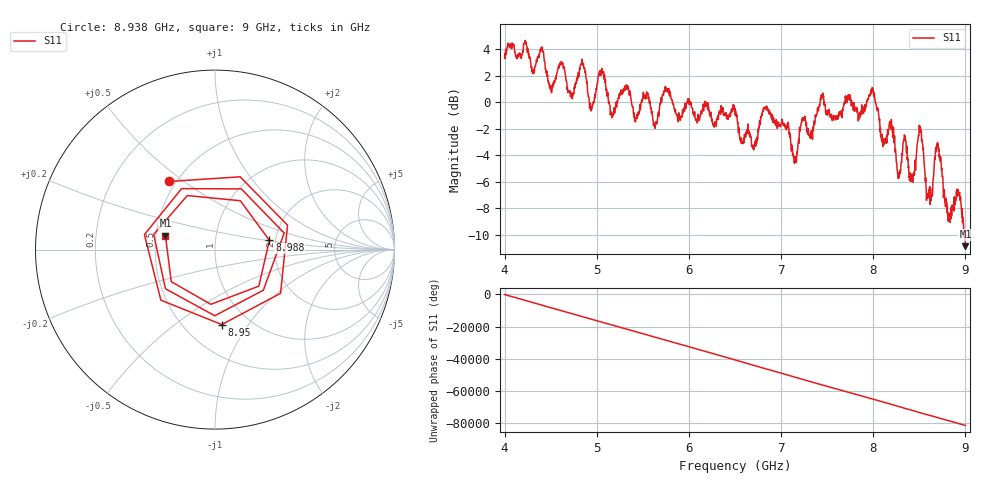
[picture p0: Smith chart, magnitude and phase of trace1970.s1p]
! Created with skrf 1.8.0 (http://scikit-rf.org).
# Hz S RI R 50.0
!freq ReS11 ImS11
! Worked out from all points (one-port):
!   1601 points, 4 GHz to 9 GHz, reference 50 ohm
!   lowest |S11| = -10.8 dB at 9 GHz (marker M1), VSWR 1.80, Z = 28.1 + j4.71 ohm
!   |S11| at or under -10 dB: 8.983055 GHz to 8.990499 GHz (7.444 MHz wide, 0.0828 % of centre); 8.991429 GHz to end of sweep
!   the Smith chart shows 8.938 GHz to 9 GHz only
!   S11 on the Smith chart (normalised r, x): 8.938 GHz: 0.46, +0.44; 8.95 GHz: 0.75, -0.76; 8.988 GHz: 1.85, +0.21; 9 GHz: 0.56, +0.09
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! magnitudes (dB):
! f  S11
! 4 GHz  3.4
! 4.503 GHz  0.9
! 4.625 GHz  2.9
! 4.728 GHz  0.7
! 4.847 GHz  2.8
! 4.944 GHz  -0.5
! 5.05 GHz  2.1
! 5.162 GHz  -0.9
! 5.25 GHz  0.7
! 5.875 GHz  -1.2
! 6.5 GHz  -0.6
! 6.703 GHz  -3.6
! 6.844 GHz  -0.3
! 7.125 GHz  -4.0
! 7.438 GHz  0.5
! 7.75 GHz  0.5
! 7.994 GHz  0.9
! 8.275 GHz  -5.4
! 8.375 GHz  -4.4
! 8.428 GHz  -6.0
! 8.509 GHz  -2.3
! 8.6 GHz  -6.9
! 8.697 GHz  -3.0
! 8.816 GHz  -8.8
! 8.938 GHz  -6.8
! 8.95 GHz  -7.5
! 8.988 GHz  -10.2
! 9 GHz  -10.8
